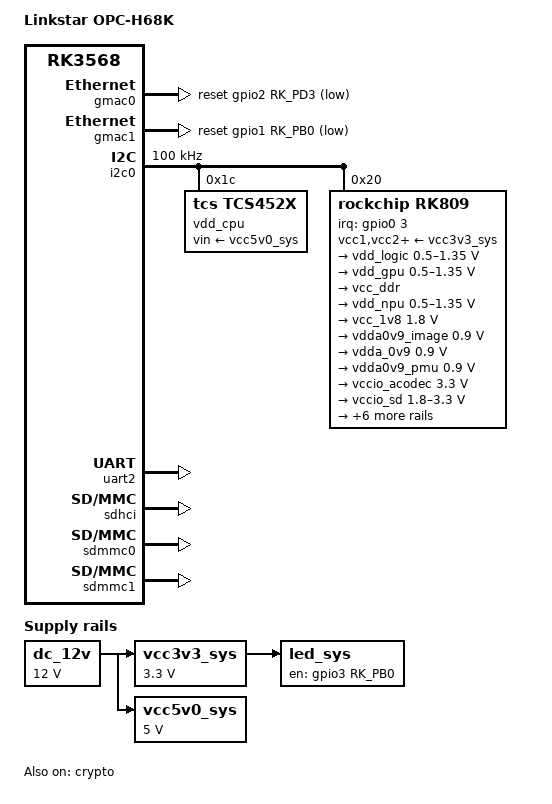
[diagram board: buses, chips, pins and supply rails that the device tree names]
// SPDX-License-Identifier: (GPL-2.0+ OR MIT)

/dts-v1/;
#include "rk3568.dtsi"
#include "rk3568-u-boot.dtsi"
#include <dt-bindings/input/input.h>

/ {
	model = "Linkstar OPC-H68K";
	compatible = "hinlink,opc-h68k", "rockchip,rk3568";

	dc_12v: dc-12v {
		u-boot,dm-pre-reloc;
		compatible = "regulator-fixed";
		regulator-always-on;
		regulator-boot-on;
		regulator-min-microvolt = <12000000>;
		regulator-max-microvolt = <12000000>;
		regulator-name = "dc_12v";
	};

	vcc3v3_sys: vcc3v3-sys {
		u-boot,dm-pre-reloc;
		compatible = "regulator-fixed";
		regulator-always-on;
		regulator-boot-on;
		regulator-min-microvolt = <3300000>;
		regulator-max-microvolt = <3300000>;
		regulator-name = "vcc3v3_sys";
		vin-supply = <&dc_12v>;
	};

	vcc5v0_sys: vcc5v0-sys {
		u-boot,dm-pre-reloc;
		compatible = "regulator-fixed";
		regulator-always-on;
		regulator-boot-on;
		regulator-min-microvolt = <5000000>;
		regulator-max-microvolt = <5000000>;
		regulator-name = "vcc5v0_sys";
		vin-supply = <&dc_12v>;
	};

	led_sys: led-sys {
		u-boot,dm-pre-reloc;
		compatible = "regulator-fixed";
		enable-active-high;
		gpios = <&gpio3 RK_PB0 GPIO_ACTIVE_HIGH>;
		regulator-always-on;
		regulator-boot-on;
		regulator-name = "led_sys";
		vin-supply = <&vcc3v3_sys>;
	};
};

&crypto {
	status = "okay";
};

&gpio0 {
	u-boot,dm-pre-reloc;
};

&gmac0 {
	clock_in_out = "output";
	snps,reset-gpio = <&gpio2 RK_PD3 GPIO_ACTIVE_LOW>;
};

&gmac1 {
	clock_in_out = "output";
	snps,reset-gpio = <&gpio1 RK_PB0 GPIO_ACTIVE_LOW>;
};

&i2c0 {
	status = "okay";
	u-boot,dm-pre-reloc;
	clock-frequency = <100000>;

	vdd_cpu: tcs4525@1c {
		u-boot,dm-pre-reloc;
		compatible = "tcs,tcs452x";
		reg = <0x1c>;
		vin-supply = <&vcc5v0_sys>;
		regulator-compatible = "fan53555-reg";
		regulator-name = "vdd_cpu";
		regulator-min-microvolt = <712500>;
		regulator-max-microvolt = <1390000>;
		regulator-ramp-delay = <2300>;
		fcs,suspend-voltage-selector = <1>;
		regulator-always-on;
		regulator-boot-on;

		regulator-state-mem {
			u-boot,dm-pre-reloc;
			regulator-off-in-suspend;
		};
	};

	rk809: pmic@20 {
		u-boot,dm-pre-reloc;
		compatible = "rockchip,rk809";
		reg = <0x20>;
		interrupt-parent = <&gpio0>;
		interrupts = <3 IRQ_TYPE_LEVEL_LOW>;

		pinctrl-names = "default", "pmic-sleep",
				"pmic-power-off", "pmic-reset";
		pinctrl-0 = <&pmic_int>;
		pinctrl-1 = <&soc_slppin_slp>, <&rk817_slppin_slp>;
		pinctrl-2 = <&soc_slppin_gpio>, <&rk817_slppin_pwrdn>;
		pinctrl-3 = <&soc_slppin_gpio>, <&rk817_slppin_rst>;

		rockchip,system-power-controller;
		wakeup-source;
		#clock-cells = <1>;
		clock-output-names = "rk808-clkout1", "rk808-clkout2";
		//fb-inner-reg-idxs = <2>;
		/* 1: rst regs (default in codes), 0: rst the pmic */
		pmic-reset-func = <0>;
		/* not save the PMIC_POWER_EN register in uboot */
		not-save-power-en = <1>;

		vcc1-supply = <&vcc3v3_sys>;
		vcc2-supply = <&vcc3v3_sys>;
		vcc3-supply = <&vcc3v3_sys>;
		vcc4-supply = <&vcc3v3_sys>;
		vcc5-supply = <&vcc3v3_sys>;
		vcc6-supply = <&vcc3v3_sys>;
		vcc7-supply = <&vcc3v3_sys>;
		vcc8-supply = <&vcc3v3_sys>;
		vcc9-supply = <&vcc3v3_sys>;

		pwrkey {
			status = "okay";
			u-boot,dm-pre-reloc;
		};

		pinctrl_rk8xx: pinctrl_rk8xx {
			gpio-controller;
			#gpio-cells = <2>;
			u-boot,dm-pre-reloc;

			rk817_slppin_null: rk817_slppin_null {
				pins = "gpio_slp";
				function = "pin_fun0";
				u-boot,dm-pre-reloc;
			};

			rk817_slppin_slp: rk817_slppin_slp {
				pins = "gpio_slp";
				function = "pin_fun1";
				u-boot,dm-pre-reloc;
			};

			rk817_slppin_pwrdn: rk817_slppin_pwrdn {
				pins = "gpio_slp";
				function = "pin_fun2";
				u-boot,dm-pre-reloc;
			};

			rk817_slppin_rst: rk817_slppin_rst {
				pins = "gpio_slp";
				function = "pin_fun3";
				u-boot,dm-pre-reloc;
			};
		};

		regulators {
			u-boot,dm-pre-reloc;

			vdd_logic: DCDC_REG1 {
				u-boot,dm-pre-reloc;
				regulator-always-on;
				regulator-boot-on;
				regulator-min-microvolt = <500000>;
				regulator-max-microvolt = <1350000>;
				regulator-init-microvolt = <900000>;
				regulator-ramp-delay = <6001>;
				regulator-initial-mode = <0x2>;
				regulator-name = "vdd_logic";

				regulator-state-mem {
					u-boot,dm-pre-reloc;
					regulator-on-in-suspend;
				};
			};

			vdd_gpu: DCDC_REG2 {
				u-boot,dm-pre-reloc;
				regulator-always-on;
				regulator-boot-on;
				regulator-min-microvolt = <500000>;
				regulator-max-microvolt = <1350000>;
				regulator-init-microvolt = <900000>;
				regulator-ramp-delay = <6001>;
				regulator-initial-mode = <0x2>;
				regulator-name = "vdd_gpu";

				regulator-state-mem {
					u-boot,dm-pre-reloc;
					regulator-on-in-suspend;
				};
			};

			vcc_ddr: DCDC_REG3 {
				u-boot,dm-pre-reloc;
				regulator-always-on;
				regulator-boot-on;
				regulator-initial-mode = <0x2>;
				regulator-name = "vcc_ddr";

				regulator-state-mem {
					u-boot,dm-pre-reloc;
					regulator-on-in-suspend;
				};
			};

			vdd_npu: DCDC_REG4 {
				u-boot,dm-pre-reloc;
				regulator-always-on;
				regulator-boot-on;
				regulator-min-microvolt = <500000>;
				regulator-max-microvolt = <1350000>;
				regulator-init-microvolt = <900000>;
				regulator-ramp-delay = <6001>;
				regulator-initial-mode = <0x2>;
				regulator-name = "vdd_npu";

				regulator-state-mem {
					u-boot,dm-pre-reloc;
					regulator-on-in-suspend;
				};
			};

			vcc_1v8: DCDC_REG5 {
				u-boot,dm-pre-reloc;
				regulator-always-on;
				regulator-boot-on;
				regulator-min-microvolt = <1800000>;
				regulator-max-microvolt = <1800000>;
				regulator-name = "vcc_1v8";

				regulator-state-mem {
					u-boot,dm-pre-reloc;
					regulator-off-in-suspend;
				};
			};

			vdda0v9_image: LDO_REG1 {
				u-boot,dm-pre-reloc;
				regulator-boot-on;
				regulator-always-on;
				regulator-min-microvolt = <900000>;
				regulator-max-microvolt = <900000>;
				regulator-name = "vdda0v9_image";

				regulator-state-mem {
					u-boot,dm-pre-reloc;
					regulator-off-in-suspend;
				};
			};

			vdda_0v9: LDO_REG2 {
				u-boot,dm-pre-reloc;
				regulator-always-on;
				regulator-boot-on;
				regulator-min-microvolt = <900000>;
				regulator-max-microvolt = <900000>;
				regulator-name = "vdda_0v9";

				regulator-state-mem {
					u-boot,dm-pre-reloc;
					regulator-off-in-suspend;
				};
			};

			vdda0v9_pmu: LDO_REG3 {
				u-boot,dm-pre-reloc;
				regulator-always-on;
				regulator-boot-on;
				regulator-min-microvolt = <900000>;
				regulator-max-microvolt = <900000>;
				regulator-name = "vdda0v9_pmu";

				regulator-state-mem {
					u-boot,dm-pre-reloc;
					regulator-on-in-suspend;
					regulator-suspend-microvolt = <900000>;
				};
			};

			vccio_acodec: LDO_REG4 {
				u-boot,dm-pre-reloc;
				regulator-always-on;
				regulator-boot-on;
				regulator-min-microvolt = <3300000>;
				regulator-max-microvolt = <3300000>;
				regulator-name = "vccio_acodec";

				regulator-state-mem {
					u-boot,dm-pre-reloc;
					regulator-off-in-suspend;
				};
			};

			vccio_sd: LDO_REG5 {
				u-boot,dm-pre-reloc;
				regulator-always-on;
				regulator-boot-on;
				regulator-min-microvolt = <1800000>;
				regulator-max-microvolt = <3300000>;
				regulator-name = "vccio_sd";

				regulator-state-mem {
					u-boot,dm-pre-reloc;
					regulator-off-in-suspend;
				};
			};

			vcc3v3_pmu: LDO_REG6 {
				u-boot,dm-pre-reloc;
				regulator-always-on;
				regulator-boot-on;
				regulator-min-microvolt = <3300000>;
				regulator-max-microvolt = <3300000>;
				regulator-name = "vcc3v3_pmu";

				regulator-state-mem {
					u-boot,dm-pre-reloc;
					regulator-on-in-suspend;
					regulator-suspend-microvolt = <3300000>;
				};
			};

			vcca_1v8: LDO_REG7 {
				u-boot,dm-pre-reloc;
				regulator-always-on;
				regulator-boot-on;
				regulator-min-microvolt = <1800000>;
				regulator-max-microvolt = <1800000>;
				regulator-name = "vcca_1v8";

				regulator-state-mem {
					u-boot,dm-pre-reloc;
					regulator-off-in-suspend;
				};
			};

			vcca1v8_pmu: LDO_REG8 {
				u-boot,dm-pre-reloc;
				regulator-always-on;
				regulator-boot-on;
				regulator-min-microvolt = <1800000>;
				regulator-max-microvolt = <1800000>;
				regulator-name = "vcca1v8_pmu";

				regulator-state-mem {
					u-boot,dm-pre-reloc;
					regulator-on-in-suspend;
					regulator-suspend-microvolt = <1800000>;
				};
			};

			vcca1v8_image: LDO_REG9 {
				u-boot,dm-pre-reloc;
				regulator-always-on;
				regulator-boot-on;
				regulator-min-microvolt = <1800000>;
				regulator-max-microvolt = <1800000>;
				regulator-name = "vcca1v8_image";

				regulator-state-mem {
					u-boot,dm-pre-reloc;
					regulator-off-in-suspend;
				};
			};

			vcc_3v3: SWITCH_REG1 {
				u-boot,dm-pre-reloc;
				regulator-always-on;
				regulator-boot-on;
				regulator-name = "vcc_3v3";

				regulator-state-mem {
					u-boot,dm-pre-reloc;
					regulator-off-in-suspend;
				};
			};

			vcc3v3_sd: SWITCH_REG2 {
				u-boot,dm-pre-reloc;
				regulator-always-on;
				regulator-boot-on;
				regulator-name = "vcc3v3_sd";

				regulator-state-mem {
					u-boot,dm-pre-reloc;
					regulator-off-in-suspend;
				};
			};
		};
	};
};

&pinctrl {
	u-boot,dm-spl;
	pmic {
		u-boot,dm-pre-reloc;
		pmic_int: pmic_int {
			u-boot,dm-pre-reloc;
			rockchip,pins =
				<0 RK_PA3 RK_FUNC_GPIO &pcfg_pull_up>;
		};

		soc_slppin_gpio: soc_slppin_gpio {
			u-boot,dm-pre-reloc;
			rockchip,pins =
				<0 RK_PA2 RK_FUNC_GPIO &pcfg_output_low>;
		};

		soc_slppin_slp: soc_slppin_slp {
			u-boot,dm-pre-reloc;
			rockchip,pins =
				<0 RK_PA2 RK_FUNC_1 &pcfg_pull_none>;
		};

		soc_slppin_rst: soc_slppin_rst {
			u-boot,dm-pre-reloc;
			rockchip,pins =
				<0 RK_PA2 RK_FUNC_2 &pcfg_pull_none>;
		};
	};
};

&pmu_io_domains {
	pmuio1-supply = <&vcc3v3_pmu>;
	pmuio2-supply = <&vcc3v3_pmu>;
	vccio1-supply = <&vccio_acodec>;
	vccio3-supply = <&vccio_sd>;
	vccio4-supply = <&vcc_1v8>;
	vccio5-supply = <&vcc_3v3>;
	vccio6-supply = <&vcc_1v8>;
	vccio7-supply = <&vcc_3v3>;
	u-boot,dm-pre-reloc;
	status = "okay";
};

&uart2 {
	status = "okay";
};

&sdhci {
	status = "okay";
};

&sdmmc0 {
	status = "okay";
};

&sdmmc1 {
	status = "okay";
};
